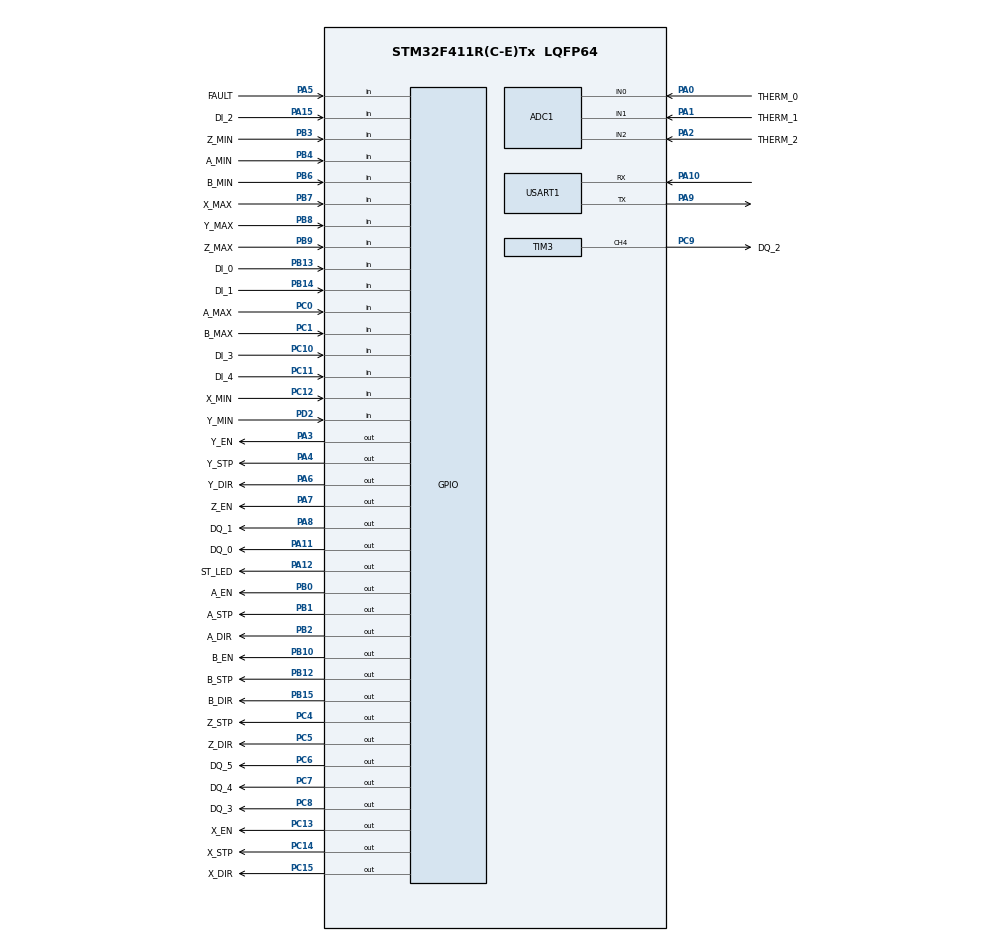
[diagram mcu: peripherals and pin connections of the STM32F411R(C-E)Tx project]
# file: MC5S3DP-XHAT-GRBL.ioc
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ADC1.Channel-0\#ChannelRegularConversion=ADC_CHANNEL_0
ADC1.NbrOfConversionFlag=1
ADC1.Rank-0\#ChannelRegularConversion=1
ADC1.SamplingTime-0\#ChannelRegularConversion=ADC_SAMPLETIME_3CYCLES
ADC1.master=1
Mcu.Family=STM32F4
Mcu.Name=STM32F411R(C-E)Tx
Mcu.Package=LQFP64
NVIC.PriorityGroup=NVIC_PRIORITYGROUP_4
NVIC.USART1_IRQn=true\:0\:0\:false\:false\:true\:true
PA0-WKUP.GPIO_Label=THERM_0
PA0-WKUP.Signal=ADCx_IN0
PA1.GPIO_Label=THERM_1
PA1.Signal=ADCx_IN1
PA10.Mode=Asynchronous
PA10.Signal=USART1_RX
PA11.GPIO_Label=DQ_0
PA11.Signal=GPIO_Output
PA12.GPIO_Label=ST_LED
PA12.Signal=GPIO_Output
PA13.Mode=Serial_Wire
PA13.Signal=SYS_JTMS-SWDIO
PA14.Mode=Serial_Wire
PA14.Signal=SYS_JTCK-SWCLK
PA15.GPIO_Label=DI_2
PA15.GPIO_PuPd=GPIO_PULLUP
PA15.Signal=GPIO_Input
PA2.GPIO_Label=THERM_2
PA2.Signal=ADCx_IN2
PA3.GPIO_Label=Y_EN
PA3.Signal=GPIO_Output
PA4.GPIO_Label=Y_STP
PA4.Signal=GPIO_Output
PA5.GPIO_Label=FAULT
PA5.Signal=GPIO_Input
PA6.GPIO_Label=Y_DIR
PA6.Signal=GPIO_Output
PA7.GPIO_Label=Z_EN
PA7.Signal=GPIO_Output
PA8.GPIO_Label=DQ_1
PA8.Signal=GPIO_Output
PA9.Mode=Asynchronous
PA9.Signal=USART1_TX
PB0.GPIO_Label=A_EN
PB0.Signal=GPIO_Output
PB1.GPIO_Label=A_STP
PB1.Signal=GPIO_Output
PB10.GPIO_Label=B_EN
PB10.Signal=GPIO_Output
PB12.GPIO_Label=B_STP
PB12.Signal=GPIO_Output
PB13.GPIO_Label=DI_0
PB13.GPIO_PuPd=GPIO_PULLUP
PB13.Signal=GPIO_Input
PB14.GPIO_Label=DI_1
PB14.GPIO_PuPd=GPIO_PULLUP
PB14.Signal=GPIO_Input
PB15.GPIO_Label=B_DIR
PB15.Signal=GPIO_Output
PB2.GPIO_Label=A_DIR
PB2.Signal=GPIO_Output
PB3.GPIO_Label=Z_MIN
PB3.GPIO_PuPd=GPIO_PULLUP
PB3.Signal=GPIO_Input
PB4.GPIO_Label=A_MIN
PB4.GPIO_PuPd=GPIO_PULLUP
PB4.Signal=GPIO_Input
PB6.GPIO_Label=B_MIN
PB6.GPIO_PuPd=GPIO_PULLUP
PB6.Signal=GPIO_Input
PB7.GPIO_Label=X_MAX
PB7.GPIO_PuPd=GPIO_PULLUP
PB7.Signal=GPIO_Input
PB8.GPIO_Label=Y_MAX
PB8.GPIO_PuPd=GPIO_PULLUP
PB8.Signal=GPIO_Input
PB9.GPIO_Label=Z_MAX
PB9.GPIO_PuPd=GPIO_PULLUP
PB9.Signal=GPIO_Input
PC0.GPIO_Label=A_MAX
PC0.GPIO_PuPd=GPIO_PULLUP
PC0.Signal=GPIO_Input
PC1.GPIO_Label=B_MAX
PC1.GPIO_PuPd=GPIO_PULLUP
PC1.Signal=GPIO_Input
PC10.GPIO_Label=DI_3
PC10.GPIO_PuPd=GPIO_PULLUP
PC10.Signal=GPIO_Input
PC11.GPIO_Label=DI_4
PC11.GPIO_PuPd=GPIO_PULLUP
PC11.Signal=GPIO_Input
PC12.GPIO_Label=X_MIN
PC12.GPIO_PuPd=GPIO_PULLUP
PC12.Signal=GPIO_Input
PC13-ANTI_TAMP.GPIO_Label=X_EN
PC13-ANTI_TAMP.Signal=GPIO_Output
PC14-OSC32_IN.GPIO_Label=X_STP
PC14-OSC32_IN.Signal=GPIO_Output
PC15-OSC32_OUT.GPIO_Label=X_DIR
PC15-OSC32_OUT.Signal=GPIO_Output
PC4.GPIO_Label=Z_STP
PC4.Signal=GPIO_Output
PC5.GPIO_Label=Z_DIR
PC5.Signal=GPIO_Output
PC6.GPIO_Label=DQ_5
PC6.Signal=GPIO_Output
PC7.GPIO_Label=DQ_4
PC7.Signal=GPIO_Output
PC8.GPIO_Label=DQ_3
PC8.Signal=GPIO_Output
PC9.GPIO_Label=DQ_2
PC9.Signal=S_TIM3_CH4
PD2.GPIO_Label=Y_MIN
PD2.GPIO_PuPd=GPIO_PULLUP
PD2.Signal=GPIO_Input
PH0\ -\ OSC_IN.Mode=HSE-External-Clock-Source
PH0\ -\ OSC_IN.Signal=RCC_OSC_IN
PH1\ -\ OSC_OUT.Mode=HSE-External-Clock-Source
PH1\ -\ OSC_OUT.Signal=RCC_OSC_OUT
ProjectManager.HeapSize=0x200
ProjectManager.StackSize=0x400
ProjectManager.TargetToolchain=SW4STM32
RCC.48MHZClocksFreq_Value=50000000
RCC.AHBFreq_Value=100000000
RCC.APB1CLKDivider=RCC_HCLK_DIV2
RCC.APB1Freq_Value=50000000
RCC.APB1TimFreq_Value=100000000
RCC.APB2Freq_Value=100000000
RCC.APB2TimFreq_Value=100000000
RCC.CortexFreq_Value=100000000
RCC.HCLKFreq_Value=100000000
RCC.HSE_VALUE=8000000
RCC.HSI_VALUE=16000000
RCC.LSE_VALUE=32768
RCC.PLLM=8
RCC.PLLN=200
RCC.PLLSourceVirtual=RCC_PLLSOURCE_HSE
RCC.SYSCLKFreq_VALUE=100000000
RCC.SYSCLKSource=RCC_SYSCLKSOURCE_PLLCLK
RCC.VCOOutputFreq_Value=200000000
SH.ADCx_IN0.0=ADC1_IN0,IN0
SH.ADCx_IN1.0=ADC1_IN1,IN1
SH.ADCx_IN2.0=ADC1_IN2,IN2
SH.S_TIM3_CH4.0=TIM3_CH4,PWM Generation4 CH4
TIM3.Channel-PWM\ Generation4\ CH4=TIM_CHANNEL_4
TIM3.Period=0xFFF
USART1.VirtualMode=VM_ASYNC
board=custom

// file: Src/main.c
/**
  ******************************************************************************
  * @file           : main.c
  * @brief          : Main program body
  ******************************************************************************
  ** This notice applies to any and all portions of this file
  * that are not between comment pairs USER CODE BEGIN and
  * USER CODE END. Other portions of this file, whether
  * inserted by the user or by software development tools
  * are owned by their respective copyright owners.
  *
  * COPYRIGHT(c) 2018 STMicroelectronics
  *
  * Redistribution and use in source and binary forms, with or without modification,
  * are permitted provided that the following conditions are met:
  *   1. Redistributions of source code must retain the above copyright notice,
  *      this list of conditions and the following disclaimer.
  *   2. Redistributions in binary form must reproduce the above copyright notice,
  *      this list of conditions and the following disclaimer in the documentation
  *      and/or other materials provided with the distribution.
  *   3. Neither the name of STMicroelectronics nor the names of its contributors
  *      may be used to endorse or promote products derived from this software
  *      without specific prior written permission.
  *
  * THIS SOFTWARE IS PROVIDED BY THE COPYRIGHT HOLDERS AND CONTRIBUTORS "AS IS"
  * AND ANY EXPRESS OR IMPLIED WARRANTIES, INCLUDING, BUT NOT LIMITED TO, THE
  * IMPLIED WARRANTIES OF MERCHANTABILITY AND FITNESS FOR A PARTICULAR PURPOSE ARE
  * DISCLAIMED. IN NO EVENT SHALL THE COPYRIGHT HOLDER OR CONTRIBUTORS BE LIABLE
  * FOR ANY DIRECT, INDIRECT, INCIDENTAL, SPECIAL, EXEMPLARY, OR CONSEQUENTIAL
  * DAMAGES (INCLUDING, BUT NOT LIMITED TO, PROCUREMENT OF SUBSTITUTE GOODS OR
  * SERVICES; LOSS OF USE, DATA, OR PROFITS; OR BUSINESS INTERRUPTION) HOWEVER
  * CAUSED AND ON ANY THEORY OF LIABILITY, WHETHER IN CONTRACT, STRICT LIABILITY,
  * OR TORT (INCLUDING NEGLIGENCE OR OTHERWISE) ARISING IN ANY WAY OUT OF THE USE
  * OF THIS SOFTWARE, EVEN IF ADVISED OF THE POSSIBILITY OF SUCH DAMAGE.
  *
  ******************************************************************************
  */
#include "main.h"

/* USER CODE BEGIN Includes */
#include "grbl_advance.h"
#include "Print.h"
/* USER CODE END Includes */

/* USER CODE BEGIN PV */
/* Private variables ---------------------------------------------------------*/

/* USER CODE END PV */

static void LL_Init(void);
void SystemClock_Config(void);
static void MX_GPIO_Init(void);
static void MX_ADC1_Init(void);
static void MX_USART1_UART_Init(void);
static void MX_TIM3_Init(void);

/* USER CODE BEGIN PFP */
/* Private function prototypes -----------------------------------------------*/

/* USER CODE END PFP */

/* USER CODE BEGIN 0 */
// Declare system global variable structure
System_t sys;
int32_t sys_position[N_AXIS];      // Real-time machine (aka home) position vector in steps.
int32_t sys_probe_position[N_AXIS]; // Last probe position in machine coordinates and steps.
volatile uint8_t sys_probe_state;   // Probing state value.  Used to coordinate the probing cycle with stepper ISR.
volatile uint8_t sys_rt_exec_state;   // Global realtime executor bitflag variable for state management. See EXEC bitmasks.
volatile uint8_t sys_rt_exec_alarm;   // Global realtime executor bitflag variable for setting various alarms.
volatile uint8_t sys_rt_exec_motion_override; // Global realtime executor bitflag variable for motion-based overrides.
volatile uint8_t sys_rt_exec_accessory_override; // Global realtime executor bitflag variable for spindle/coolant overrides.

/* USER CODE END 0 */

int main(void)
{

  /* MCU Configuration----------------------------------------------------------*/

  /* Reset of all peripherals, Initializes the Flash interface and the Systick. */
  LL_Init();

  /* Configure the system clock */
  SystemClock_Config();

  /* Initialize all configured peripherals */
  MX_GPIO_Init();
  MX_ADC1_Init();
  MX_USART1_UART_Init();
  MX_TIM3_Init();
  /* USER CODE BEGIN 2 */

  LL_SYSTICK_EnableIT();
  LL_TIM_EnableCounter(TIM3);
  LL_TIM_EnableAllOutputs(TIM3);

  // Init formatted output
  Serial_Init();

  System_Init();
  Stepper_Init();
  Settings_Init();

  System_ResetPosition();

  if(BIT_IS_TRUE(settings.flags, BITFLAG_HOMING_ENABLE)) {
    sys.state = STATE_ALARM;
  }
  else {
    sys.state = STATE_IDLE;
  }

  // Reset system variables.
  uint8_t prior_state = sys.state;

  System_Clear();
  sys.state = prior_state;

  Probe_Reset();

  sys_probe_state = 0;
  sys_rt_exec_state = 0;
  sys_rt_exec_alarm = 0;
  sys_rt_exec_motion_override = 0;
  sys_rt_exec_accessory_override = 0;

  // Reset Grbl-Advanced primary systems.
  GC_Init();
  Planner_Init();

  Coolant_Init();
  Limits_Init();
  Probe_Init();
  Spindle_Init();
  Stepper_Reset();

  // Sync cleared gcode and planner positions to current system position.
  Planner_SyncPosition();
  GC_SyncPosition();

  // Print welcome message. Indicates an initialization has occured at power-up or with a reset.
  Report_InitMessage();
  /* USER CODE END 2 */

  /* Infinite loop */
  /* USER CODE BEGIN WHILE */
  // Start Grbl-Advanced main loop. Processes program inputs and executes them.
  Protocol_MainLoop();
  /* USER CODE END WHILE */

}

static void LL_Init(void)
{

  LL_APB2_GRP1_EnableClock(LL_APB2_GRP1_PERIPH_SYSCFG);
  LL_APB1_GRP1_EnableClock(LL_APB1_GRP1_PERIPH_PWR);

  NVIC_SetPriorityGrouping(NVIC_PRIORITYGROUP_4);

  /* System interrupt init*/
  /* MemoryManagement_IRQn interrupt configuration */
  NVIC_SetPriority(MemoryManagement_IRQn, NVIC_EncodePriority(NVIC_GetPriorityGrouping(),0, 0));
  /* BusFault_IRQn interrupt configuration */
  NVIC_SetPriority(BusFault_IRQn, NVIC_EncodePriority(NVIC_GetPriorityGrouping(),0, 0));
  /* UsageFault_IRQn interrupt configuration */
  NVIC_SetPriority(UsageFault_IRQn, NVIC_EncodePriority(NVIC_GetPriorityGrouping(),0, 0));
  /* SVCall_IRQn interrupt configuration */
  NVIC_SetPriority(SVCall_IRQn, NVIC_EncodePriority(NVIC_GetPriorityGrouping(),0, 0));
  /* DebugMonitor_IRQn interrupt configuration */
  NVIC_SetPriority(DebugMonitor_IRQn, NVIC_EncodePriority(NVIC_GetPriorityGrouping(),0, 0));
  /* PendSV_IRQn interrupt configuration */
  NVIC_SetPriority(PendSV_IRQn, NVIC_EncodePriority(NVIC_GetPriorityGrouping(),0, 0));
  /* SysTick_IRQn interrupt configuration */
  NVIC_SetPriority(SysTick_IRQn, NVIC_EncodePriority(NVIC_GetPriorityGrouping(),0, 0));

}

void SystemClock_Config(void)
{

  LL_FLASH_SetLatency(LL_FLASH_LATENCY_3);

  if(LL_FLASH_GetLatency() != LL_FLASH_LATENCY_3)
  {
  Error_Handler();
  }
  LL_PWR_SetRegulVoltageScaling(LL_PWR_REGU_VOLTAGE_SCALE1);

  LL_RCC_HSE_EnableBypass();

  LL_RCC_HSE_Enable();

   /* Wait till HSE is ready */
  while(LL_RCC_HSE_IsReady() != 1)
  {

  }
  LL_RCC_PLL_ConfigDomain_SYS(LL_RCC_PLLSOURCE_HSE, LL_RCC_PLLM_DIV_8, 200, LL_RCC_PLLP_DIV_2);

  LL_RCC_PLL_Enable();

   /* Wait till PLL is ready */
  while(LL_RCC_PLL_IsReady() != 1)
  {

  }
  LL_RCC_SetAHBPrescaler(LL_RCC_SYSCLK_DIV_1);

  LL_RCC_SetAPB1Prescaler(LL_RCC_APB1_DIV_2);

  LL_RCC_SetAPB2Prescaler(LL_RCC_APB2_DIV_1);

  LL_RCC_SetSysClkSource(LL_RCC_SYS_CLKSOURCE_PLL);

   /* Wait till System clock is ready */
  while(LL_RCC_GetSysClkSource() != LL_RCC_SYS_CLKSOURCE_STATUS_PLL)
  {

  }
  LL_Init1msTick(100000000);

  LL_SYSTICK_SetClkSource(LL_SYSTICK_CLKSOURCE_HCLK);

  LL_SetSystemCoreClock(100000000);

  LL_RCC_SetTIMPrescaler(LL_RCC_TIM_PRESCALER_TWICE);

  /* SysTick_IRQn interrupt configuration */
  NVIC_SetPriority(SysTick_IRQn, NVIC_EncodePriority(NVIC_GetPriorityGrouping(),0, 0));
}

/* ADC1 init function */
static void MX_ADC1_Init(void)
{

  LL_ADC_InitTypeDef ADC_InitStruct;
  LL_ADC_REG_InitTypeDef ADC_REG_InitStruct;
  LL_ADC_CommonInitTypeDef ADC_CommonInitStruct;

  LL_GPIO_InitTypeDef GPIO_InitStruct;

  /* Peripheral clock enable */
  LL_APB2_GRP1_EnableClock(LL_APB2_GRP1_PERIPH_ADC1);

  /**ADC1 GPIO Configuration
  PA0-WKUP   ------> ADC1_IN0
  PA1   ------> ADC1_IN1
  PA2   ------> ADC1_IN2
  */
  GPIO_InitStruct.Pin = THERM_0_Pin|THERM_1_Pin|THERM_2_Pin;
  GPIO_InitStruct.Mode = LL_GPIO_MODE_ANALOG;
  GPIO_InitStruct.Pull = LL_GPIO_PULL_NO;
  LL_GPIO_Init(GPIOA, &GPIO_InitStruct);

    /**Common config
    */
  ADC_InitStruct.Resolution = LL_ADC_RESOLUTION_12B;
  ADC_InitStruct.DataAlignment = LL_ADC_DATA_ALIGN_RIGHT;
  ADC_InitStruct.SequencersScanMode = LL_ADC_SEQ_SCAN_DISABLE;
  LL_ADC_Init(ADC1, &ADC_InitStruct);

  ADC_REG_InitStruct.TriggerSource = LL_ADC_REG_TRIG_SOFTWARE;
  ADC_REG_InitStruct.SequencerLength = LL_ADC_REG_SEQ_SCAN_DISABLE;
  ADC_REG_InitStruct.SequencerDiscont = LL_ADC_REG_SEQ_DISCONT_DISABLE;
  ADC_REG_InitStruct.ContinuousMode = LL_ADC_REG_CONV_SINGLE;
  ADC_REG_InitStruct.DMATransfer = LL_ADC_REG_DMA_TRANSFER_LIMITED;
  LL_ADC_REG_Init(ADC1, &ADC_REG_InitStruct);

  LL_ADC_REG_SetFlagEndOfConversion(ADC1, LL_ADC_REG_FLAG_EOC_UNITARY_CONV);

  ADC_CommonInitStruct.CommonClock = LL_ADC_CLOCK_SYNC_PCLK_DIV4;
  LL_ADC_CommonInit(__LL_ADC_COMMON_INSTANCE(ADC1), &ADC_CommonInitStruct);

    /**Configure Regular Channel
    */
  LL_ADC_REG_SetSequencerRanks(ADC1, LL_ADC_REG_RANK_1, LL_ADC_CHANNEL_0);

  LL_ADC_SetChannelSamplingTime(ADC1, LL_ADC_CHANNEL_0, LL_ADC_SAMPLINGTIME_3CYCLES);

}

/* TIM3 init function */
static void MX_TIM3_Init(void)
{

  LL_TIM_InitTypeDef TIM_InitStruct;
  LL_TIM_OC_InitTypeDef TIM_OC_InitStruct;

  LL_GPIO_InitTypeDef GPIO_InitStruct;

  /* Peripheral clock enable */
  LL_APB1_GRP1_EnableClock(LL_APB1_GRP1_PERIPH_TIM3);

  TIM_InitStruct.Prescaler = 0;
  TIM_InitStruct.CounterMode = LL_TIM_COUNTERMODE_UP;
  TIM_InitStruct.Autoreload = 0xFFF;
  TIM_InitStruct.ClockDivision = LL_TIM_CLOCKDIVISION_DIV1;
  LL_TIM_Init(TIM3, &TIM_InitStruct);

  LL_TIM_OC_EnablePreload(TIM3, LL_TIM_CHANNEL_CH4);

  TIM_OC_InitStruct.OCMode = LL_TIM_OCMODE_PWM1;
  TIM_OC_InitStruct.OCState = LL_TIM_OCSTATE_ENABLE;
  TIM_OC_InitStruct.OCNState = LL_TIM_OCSTATE_DISABLE;
  TIM_OC_InitStruct.CompareValue = 0;
  TIM_OC_InitStruct.OCPolarity = LL_TIM_OCPOLARITY_HIGH;
  LL_TIM_OC_Init(TIM3, LL_TIM_CHANNEL_CH4, &TIM_OC_InitStruct);

  LL_TIM_OC_DisableFast(TIM3, LL_TIM_CHANNEL_CH4);

  LL_TIM_SetTriggerOutput(TIM3, LL_TIM_TRGO_RESET);

  LL_TIM_DisableMasterSlaveMode(TIM3);

  /**TIM3 GPIO Configuration
  PC9   ------> TIM3_CH4
  */
  GPIO_InitStruct.Pin = DQ_2_Pin;
  GPIO_InitStruct.Mode = LL_GPIO_MODE_ALTERNATE;
  GPIO_InitStruct.Speed = LL_GPIO_SPEED_FREQ_LOW;
  GPIO_InitStruct.OutputType = LL_GPIO_OUTPUT_PUSHPULL;
  GPIO_InitStruct.Pull = LL_GPIO_PULL_NO;
  GPIO_InitStruct.Alternate = LL_GPIO_AF_2;
  LL_GPIO_Init(DQ_2_GPIO_Port, &GPIO_InitStruct);

}

/* USART1 init function */
static void MX_USART1_UART_Init(void)
{

  LL_USART_InitTypeDef USART_InitStruct;

  LL_GPIO_InitTypeDef GPIO_InitStruct;

  /* Peripheral clock enable */
  LL_APB2_GRP1_EnableClock(LL_APB2_GRP1_PERIPH_USART1);

  /**USART1 GPIO Configuration
  PA9   ------> USART1_TX
  PA10   ------> USART1_RX
  */
  GPIO_InitStruct.Pin = LL_GPIO_PIN_9|LL_GPIO_PIN_10;
  GPIO_InitStruct.Mode = LL_GPIO_MODE_ALTERNATE;
  GPIO_InitStruct.Speed = LL_GPIO_SPEED_FREQ_VERY_HIGH;
  GPIO_InitStruct.OutputType = LL_GPIO_OUTPUT_PUSHPULL;
  GPIO_InitStruct.Pull = LL_GPIO_PULL_UP;
  GPIO_InitStruct.Alternate = LL_GPIO_AF_7;
  LL_GPIO_Init(GPIOA, &GPIO_InitStruct);

  /* USART1 interrupt Init */
  NVIC_SetPriority(USART1_IRQn, NVIC_EncodePriority(NVIC_GetPriorityGrouping(),0, 0));
  NVIC_EnableIRQ(USART1_IRQn);

  USART_InitStruct.BaudRate = 115200;
  USART_InitStruct.DataWidth = LL_USART_DATAWIDTH_8B;
  USART_InitStruct.StopBits = LL_USART_STOPBITS_1;
  USART_InitStruct.Parity = LL_USART_PARITY_NONE;
  USART_InitStruct.TransferDirection = LL_USART_DIRECTION_TX_RX;
  USART_InitStruct.HardwareFlowControl = LL_USART_HWCONTROL_NONE;
  USART_InitStruct.OverSampling = LL_USART_OVERSAMPLING_16;
  LL_USART_Init(USART1, &USART_InitStruct);

  LL_USART_ConfigAsyncMode(USART1);

  LL_USART_Enable(USART1);

}

/** Configure pins as
        * Analog
        * Input
        * Output
        * EVENT_OUT
        * EXTI
*/
static void MX_GPIO_Init(void)
{

  LL_GPIO_InitTypeDef GPIO_InitStruct;

  /* GPIO Ports Clock Enable */
  LL_AHB1_GRP1_EnableClock(LL_AHB1_GRP1_PERIPH_GPIOC);
  LL_AHB1_GRP1_EnableClock(LL_AHB1_GRP1_PERIPH_GPIOH);
  LL_AHB1_GRP1_EnableClock(LL_AHB1_GRP1_PERIPH_GPIOA);
  LL_AHB1_GRP1_EnableClock(LL_AHB1_GRP1_PERIPH_GPIOB);
  LL_AHB1_GRP1_EnableClock(LL_AHB1_GRP1_PERIPH_GPIOD);

  /**/
  LL_GPIO_ResetOutputPin(GPIOC, X_EN_Pin|X_STP_Pin|X_DIR_Pin|Z_STP_Pin
                          |Z_DIR_Pin|DQ_5_Pin|DQ_4_Pin|DQ_3_Pin);

  /**/
  LL_GPIO_ResetOutputPin(GPIOA, Y_EN_Pin|Y_STP_Pin|Y_DIR_Pin|Z_EN_Pin
                          |DQ_1_Pin|DQ_0_Pin|ST_LED_Pin);

  /**/
  LL_GPIO_ResetOutputPin(GPIOB, A_EN_Pin|A_STP_Pin|A_DIR_Pin|B_EN_Pin
                          |B_STP_Pin|B_DIR_Pin);

  /**/
  GPIO_InitStruct.Pin = X_EN_Pin|X_STP_Pin|X_DIR_Pin|Z_STP_Pin
                          |Z_DIR_Pin|DQ_5_Pin|DQ_4_Pin|DQ_3_Pin;
  GPIO_InitStruct.Mode = LL_GPIO_MODE_OUTPUT;
  GPIO_InitStruct.Speed = LL_GPIO_SPEED_FREQ_LOW;
  GPIO_InitStruct.OutputType = LL_GPIO_OUTPUT_PUSHPULL;
  GPIO_InitStruct.Pull = LL_GPIO_PULL_NO;
  LL_GPIO_Init(GPIOC, &GPIO_InitStruct);

  /**/
  GPIO_InitStruct.Pin = A_MAX_Pin|B_MAX_Pin|DI_3_Pin|DI_4_Pin
                          |X_MIN_Pin;
  GPIO_InitStruct.Mode = LL_GPIO_MODE_INPUT;
  GPIO_InitStruct.Pull = LL_GPIO_PULL_UP;
  LL_GPIO_Init(GPIOC, &GPIO_InitStruct);

  /**/
  GPIO_InitStruct.Pin = Y_EN_Pin|Y_STP_Pin|Y_DIR_Pin|Z_EN_Pin
                          |DQ_1_Pin|DQ_0_Pin|ST_LED_Pin;
  GPIO_InitStruct.Mode = LL_GPIO_MODE_OUTPUT;
  GPIO_InitStruct.Speed = LL_GPIO_SPEED_FREQ_LOW;
  GPIO_InitStruct.OutputType = LL_GPIO_OUTPUT_PUSHPULL;
  GPIO_InitStruct.Pull = LL_GPIO_PULL_NO;
  LL_GPIO_Init(GPIOA, &GPIO_InitStruct);

  /**/
  GPIO_InitStruct.Pin = FAULT_Pin;
  GPIO_InitStruct.Mode = LL_GPIO_MODE_INPUT;
  GPIO_InitStruct.Pull = LL_GPIO_PULL_NO;
  LL_GPIO_Init(FAULT_GPIO_Port, &GPIO_InitStruct);

  /**/
  GPIO_InitStruct.Pin = A_EN_Pin|A_STP_Pin|A_DIR_Pin|B_EN_Pin
                          |B_STP_Pin|B_DIR_Pin;
  GPIO_InitStruct.Mode = LL_GPIO_MODE_OUTPUT;
  GPIO_InitStruct.Speed = LL_GPIO_SPEED_FREQ_LOW;
  GPIO_InitStruct.OutputType = LL_GPIO_OUTPUT_PUSHPULL;
  GPIO_InitStruct.Pull = LL_GPIO_PULL_NO;
  LL_GPIO_Init(GPIOB, &GPIO_InitStruct);

  /**/
  GPIO_InitStruct.Pin = DI_0_Pin|DI_1_Pin|Z_MIN_Pin|A_MIN_Pin
                          |B_MIN_Pin|X_MAX_Pin|Y_MAX_Pin|Z_MAX_Pin;
  GPIO_InitStruct.Mode = LL_GPIO_MODE_INPUT;
  GPIO_InitStruct.Pull = LL_GPIO_PULL_UP;
  LL_GPIO_Init(GPIOB, &GPIO_InitStruct);

  /**/
  GPIO_InitStruct.Pin = DI_2_Pin;
  GPIO_InitStruct.Mode = LL_GPIO_MODE_INPUT;
  GPIO_InitStruct.Pull = LL_GPIO_PULL_UP;
  LL_GPIO_Init(DI_2_GPIO_Port, &GPIO_InitStruct);

  /**/
  GPIO_InitStruct.Pin = Y_MIN_Pin;
  GPIO_InitStruct.Mode = LL_GPIO_MODE_INPUT;
  GPIO_InitStruct.Pull = LL_GPIO_PULL_UP;
  LL_GPIO_Init(Y_MIN_GPIO_Port, &GPIO_InitStruct);

}

void _Error_Handler(char *file, int line)
{
  while(1)
  {
  }
}

/************************ (C) COPYRIGHT STMicroelectronics *****END OF FILE****/
